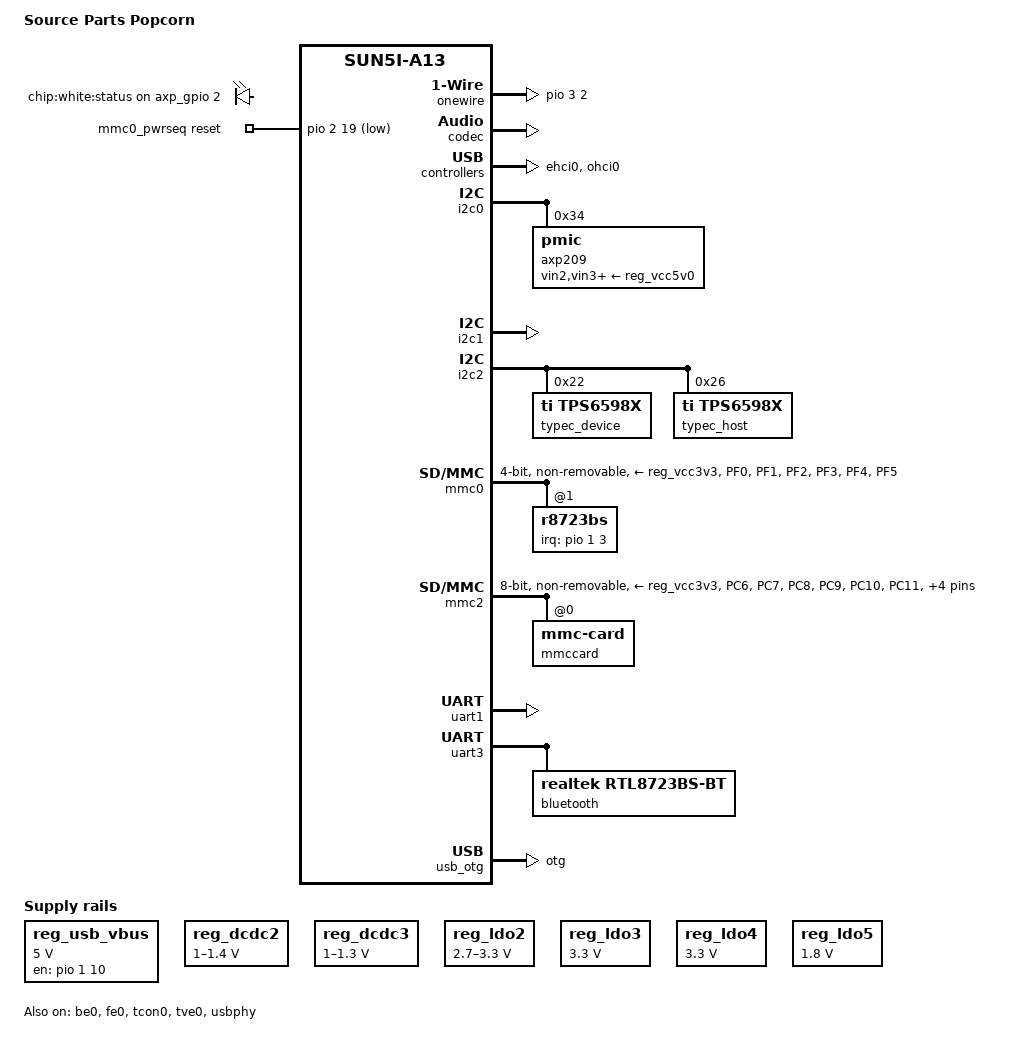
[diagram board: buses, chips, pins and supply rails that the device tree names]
/*
 * Copyright 2015 Free Electrons
 * Copyright 2015 NextThing Co
 *
 * Maxime Ripard <maxime.ripard@free-electrons.com>
 *
 * This file is dual-licensed: you can use it either under the terms
 * of the GPL or the X11 license, at your option. Note that this dual
 * licensing only applies to this file, and not this project as a
 * whole.
 *
 *  a) This file is free software; you can redistribute it and/or
 *     modify it under the terms of the GNU General Public License as
 *     published by the Free Software Foundation; either version 2 of the
 *     License, or (at your option) any later version.
 *
 *     This file is distributed in the hope that it will be useful,
 *     but WITHOUT ANY WARRANTY; without even the implied warranty of
 *     MERCHANTABILITY or FITNESS FOR A PARTICULAR PURPOSE.  See the
 *     GNU General Public License for more details.
 *
 * Or, alternatively,
 *
 *  b) Permission is hereby granted, free of charge, to any person
 *     obtaining a copy of this software and associated documentation
 *     files (the "Software"), to deal in the Software without
 *     restriction, including without limitation the rights to use,
 *     copy, modify, merge, publish, distribute, sublicense, and/or
 *     sell copies of the Software, and to permit persons to whom the
 *     Software is furnished to do so, subject to the following
 *     conditions:
 *
 *     The above copyright notice and this permission notice shall be
 *     included in all copies or substantial portions of the Software.
 *
 *     THE SOFTWARE IS PROVIDED "AS IS", WITHOUT WARRANTY OF ANY KIND,
 *     EXPRESS OR IMPLIED, INCLUDING BUT NOT LIMITED TO THE WARRANTIES
 *     OF MERCHANTABILITY, FITNESS FOR A PARTICULAR PURPOSE AND
 *     NONINFRINGEMENT. IN NO EVENT SHALL THE AUTHORS OR COPYRIGHT
 *     HOLDERS BE LIABLE FOR ANY CLAIM, DAMAGES OR OTHER LIABILITY,
 *     WHETHER IN AN ACTION OF CONTRACT, TORT OR OTHERWISE, ARISING
 *     FROM, OUT OF OR IN CONNECTION WITH THE SOFTWARE OR THE USE OR
 *     OTHER DEALINGS IN THE SOFTWARE.
 */

/dts-v1/;
#include "sun5i-r8.dtsi"
#include "sunxi-common-regulators.dtsi"

#include <dt-bindings/gpio/gpio.h>
#include <dt-bindings/interrupt-controller/irq.h>

/ {
	model = "Source Parts Popcorn";
	compatible = "sourceparts,popcorn", "nextthing,chip",
		     "allwinner,sun5i-r8", "allwinner,sun5i-a13";

	aliases {
		i2c0 = &i2c0;
		i2c1 = &i2c1;
		i2c2 = &i2c2;
		mmc0 = &mmc2;
		mmc1 = &mmc0;
		serial0 = &uart1;
		serial1 = &uart3;
		spi0 = &spi2;
	};

	chosen {
		stdout-path = "serial0:115200n8";
	};

	leds {
		compatible = "gpio-leds";

		status {
			label = "chip:white:status";
			gpios = <&axp_gpio 2 GPIO_ACTIVE_HIGH>;
			default-state = "on";
		};
	};

	mmc0_pwrseq: mmc0_pwrseq {
		compatible = "mmc-pwrseq-simple";
		reset-gpios = <&pio 2 19 GPIO_ACTIVE_LOW>; /* PC19 */
	};

	onewire {
		compatible = "w1-gpio";
		gpios = <&pio 3 2 (GPIO_ACTIVE_HIGH | GPIO_PULL_UP)>; /* PD2 */
	};

	reg_usb_vbus: usb-vbus {
                compatible = "regulator-fixed";
                regulator-name = "usb0-vbus";
                regulator-min-microvolt = <5000000>;
                regulator-max-microvolt = <5000000>;
                enable-active-high;
		regulator-always-on;
		regulator-boot-on;
                gpio = <&pio 1 10 GPIO_ACTIVE_HIGH>;
                status = "okay";
        };
};

&be0 {
	status = "okay";
};

&codec {
	status = "okay";
};

&cpu0 {
	cpu-supply = <&reg_dcdc2>;
	operating-points =
		/* kHz    uV */
		<1008000 1400000>,
		<912000  1350000>,
		<864000  1300000>,
		<624000  1200000>,
		<576000  1200000>,
		<432000  1200000>;
};

&ehci0 {
	status = "okay";
};

&i2c0 {
	status = "okay";

	axp209: pmic@34 {
		reg = <0x34>;

		/*
		 * The interrupt is routed through the "External Fast
		 * Interrupt Request" pin (ball G13 of the module)
		 * directly to the main interrupt controller, without
		 * any other controller interfering.
		 */
		interrupts = <0>;
	};
};

#include "axp209.dtsi"

&ac_power_supply {
	status = "okay";
};

&axp209 {
	/* IPSOUT is a fixed 5v that feeds these regulators. */
	vin2-supply = <&reg_vcc5v0>;
	vin3-supply = <&reg_vcc5v0>;
	acin-supply = <&reg_vcc5v0>;
	ldo24in-supply = <&reg_vcc5v0>;
	ldo3in-supply = <&reg_vcc5v0>;
	ldo5in-supply = <&reg_vcc5v0>;
};

&battery_power_supply {
	status = "okay";
};

&fe0 {
	status = "okay";
};

&i2c1 {
	status = "okay";
};

&i2c2 {
	status = "okay";

	typec_device: usb-pd@22 {
		compatible = "ti,tps6598x";
		reg = <0x22>;
		interrupts = <6 2 IRQ_TYPE_EDGE_FALLING>; /* PG2 / EINT2 */
		interrupt-names = "irq";
		pinctrl-names = "default";
		pinctrl-0 = <&typec_pins>;

		typec_con0: connector {
			compatible = "usb-c-connector";
		};
	};

	typec_host: usb-pd@26 {
		compatible = "ti,tps6598x";
		reg = <0x26>;

		typec_con1: connector {
			compatible = "usb-c-connector";
		};
	};
};

/* This fixes a bug with upstream */
&mbus {
	status = "disabled";
};

&mmc0 {
	pinctrl-names = "default";
	pinctrl-0 = <&mmc0_pins>;
	vmmc-supply = <&reg_vcc3v3>;
	mmc-pwrseq = <&mmc0_pwrseq>;
	bus-width = <4>;
	non-removable;
	status = "okay";
	r8723bs: r8723bs@1 {
		reg = <1>;
		interrupt-parent = <&pio>;
		interrupts = <1 3 IRQ_TYPE_EDGE_FALLING>; /* PB3 / EINT17 */
		interrupt-names = "host-wake";
	};
};

&mmc2 {
	pinctrl-names = "default";
	pinctrl-0 = <&mmc2_8bit_pins>;
	vmmc-supply = <&reg_vcc3v3>;
	bus-width = <8>;
	non-removable;
	status = "okay";

	mmccard: mmccard@0 {
		reg = <0>;
		compatible = "mmc-card";
	};
};

&ohci0 {
	status = "okay";
};

&otg_sram {
	status = "okay";
};

&pio {
	vcc-pb-supply = <&reg_vcc3v3>;
	vcc-pc-supply = <&reg_vcc3v3>;
	vcc-pd-supply = <&reg_vcc3v3>;
	vcc-pe-supply = <&reg_vcc3v3>;
	vcc-pf-supply = <&reg_vcc3v3>;
	vcc-pg-supply = <&reg_vcc3v3>;

	mmc0_pins: mmc0-pins {
		pins = "PF0", "PF1", "PF2", "PF3",
		       "PF4", "PF5";
		function = "mmc0";
		drive-strength = <30>;
		bias-pull-up;
	};

	mmc2_8bit_pins: mmc2-8bit-pins {
		pins = "PC6", "PC7", "PC8", "PC9",
		       "PC10", "PC11", "PC12", "PC13",
		       "PC14", "PC15";
		function = "mmc2";
		drive-strength = <30>;
		bias-pull-up;
	};

	typec_pins: typec-pins {
		pins = "PC3";
		function = "gpio_out";
		bias-pull-down;
	};
};

&reg_dcdc2 {
	regulator-min-microvolt = <1000000>;
	regulator-max-microvolt = <1400000>;
	regulator-name = "cpuvdd";
	regulator-always-on;
};

&reg_dcdc3 {
	regulator-min-microvolt = <1000000>;
	regulator-max-microvolt = <1300000>;
	regulator-name = "corevdd";
	regulator-always-on;
};

&reg_ldo1 {
	regulator-name = "rtcvdd";
};

&reg_ldo2 {
	regulator-min-microvolt = <2700000>;
	regulator-max-microvolt = <3300000>;
	regulator-name = "avcc";
	regulator-always-on;
};

/*
 * Both LDO3 and LDO4 are used in parallel to power up the WiFi/BT
 * Chip.
 *
 * If those are not enabled, the SDIO part will not enumerate, and
 * since there's no way currently to pass DT infos to an SDIO device,
 * we cannot really do better than this ugly hack for now.
 */
&reg_ldo3 {
	regulator-min-microvolt = <3300000>;
	regulator-max-microvolt = <3300000>;
	regulator-name = "vcc-wifi-1";
	regulator-always-on;
	regulator-boot-on;
};

&reg_ldo4 {
	regulator-min-microvolt = <3300000>;
	regulator-max-microvolt = <3300000>;
	regulator-name = "vcc-wifi-2";
	regulator-always-on;
	regulator-boot-on;
};

&reg_ldo5 {
	regulator-min-microvolt = <1800000>;
	regulator-max-microvolt = <1800000>;
	regulator-name = "vcc-1v8";
};

&reg_usb0_vbus {
	vin-supply = <&reg_vcc5v0>;*/
	gpio = <&pio 1 10 GPIO_ACTIVE_HIGH>; /* PB10 */
	status = "okay";
};

&spi2 {
	pinctrl-names = "default";
	pinctrl-0 = <&spi2_pe_pins>;
	status = "disabled";
};

&tcon0 {
	status = "okay";
};

&tve0 {
	status = "okay";
};

&uart1 {
	pinctrl-names = "default";
	pinctrl-0 = <&uart1_pg_pins>;
	status = "okay";
};

&uart3 {
	pinctrl-names = "default";
	pinctrl-0 = <&uart3_pg_pins>,
		    <&uart3_cts_rts_pg_pins>;
	status = "okay";

	bluetooth {
		compatible = "realtek,rtl8723bs-bt";
	};
};

&usb_otg {
	dr_mode = "otg";
	status = "okay";
};

&usb_power_supply {
	status = "okay";
};

&usbphy {
	status = "okay";

	usb0_id_det-gpio = <&pio 6 2 GPIO_ACTIVE_HIGH>; /* PG2 */
	usb0_vbus_power-supply = <&usb_power_supply>;
	usb0_vbus-supply = <&reg_usb0_vbus>;
	usb0_vbus-supply = <&reg_vcc5v0>;
	usb1_vbus-supply = <&reg_vcc5v0>;
};
